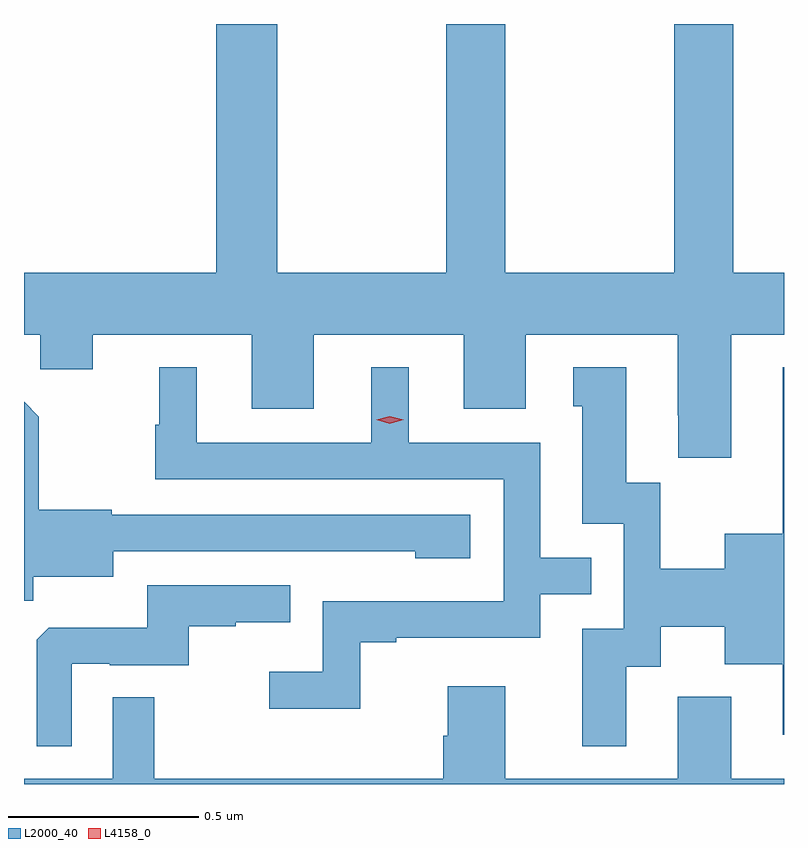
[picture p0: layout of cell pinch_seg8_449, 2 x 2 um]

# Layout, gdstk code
import gdstk
lib = gdstk.Library(unit=1e-6, precision=1e-09)
def P(c, l, *ps):  # polygons
    for p in ps: c.add(gdstk.Polygon(p, *l))
L2000_40 = (2000, 40)
L4158_0 = (4158, 0)

pinch_seg8_449 = lib.new_cell('pinch_seg8_449')
P(pinch_seg8_449, L2000_40, [(326.089,1140.476),(326.228,1140.476),(326.228,1140.64),(326.094,1140.64),(326.094,1141.294),(325.939,1141.294),(325.939,1140.64),(325.494,1140.64),(325.494,1141.294),(325.339,1141.294),(325.339,1140.64),(324.894,1140.64),(324.894,1141.294),(324.734,1141.294),(324.734,1140.64),(324.228,1140.64),(324.228,1140.476),(324.271,1140.476),(324.271,1140.386),(324.409,1140.386),(324.409,1140.476),(324.827,1140.476),(324.827,1140.282),(324.991,1140.282),(324.991,1140.476),(325.385,1140.476),(325.385,1140.282),(325.549,1140.282),(325.549,1140.476),(325.949,1140.476),(325.949,1140.265),(325.95,1140.265),(325.95,1140.153),(326.089,1140.153)],
  [(325.113,1139.667),(325.207,1139.667),(325.207,1139.679),(325.587,1139.679),(325.587,1139.793),(325.721,1139.793),(325.721,1139.889),(325.587,1139.889),(325.587,1140.192),(325.24,1140.192),(325.24,1140.391),(325.142,1140.391),(325.142,1140.192),(324.682,1140.192),(324.682,1140.391),(324.584,1140.391),(324.584,1140.24),(324.573,1140.24),(324.573,1140.096),(325.491,1140.096),(325.491,1139.775),(325.014,1139.775),(325.014,1139.59),(324.873,1139.59),(324.873,1139.492),(325.113,1139.492)],
  [(325.813,1139.602),(325.903,1139.602),(325.903,1139.708),(326.072,1139.708),(326.072,1139.609),(326.225,1139.609),(326.225,1139.424),(326.228,1139.424),(326.228,1140.391),(326.225,1140.391),(326.225,1139.953),(326.072,1139.953),(326.072,1139.86),(325.902,1139.86),(325.902,1140.087),(325.813,1140.087),(325.813,1140.391),(325.673,1140.391),(325.673,1140.288),(325.697,1140.288),(325.697,1139.979),(325.806,1139.979),(325.806,1139.703),(325.697,1139.703),(325.697,1139.394),(325.813,1139.394)],
  [(324.252,1139.84),(324.463,1139.84),(324.463,1139.907),(325.021,1139.907),(325.021,1139.906),(325.257,1139.906),(325.257,1139.888),(325.402,1139.888),(325.402,1140.003),(324.459,1140.003),(324.459,1140.016),(324.267,1140.016),(324.267,1140.261),(324.228,1140.3),(324.228,1139.776),(324.252,1139.776)],
  [(324.354,1139.61),(324.454,1139.61),(324.454,1139.607),(324.662,1139.607),(324.662,1139.709),(324.785,1139.709),(324.785,1139.72),(324.929,1139.72),(324.929,1139.817),(324.552,1139.817),(324.552,1139.705),(324.293,1139.705),(324.261,1139.673),(324.261,1139.393),(324.354,1139.393)],
  [(326.228,1139.308),(326.089,1139.308),(326.089,1139.524),(325.949,1139.524),(325.949,1139.308),(325.495,1139.308),(325.495,1139.551),(325.343,1139.551),(325.343,1139.421),(325.331,1139.421),(325.331,1139.308),(324.571,1139.308),(324.571,1139.522),(324.462,1139.522),(324.462,1139.308),(324.228,1139.308),(324.228,1139.294),(326.228,1139.294)])
P(pinch_seg8_449, L4158_0, [(325.191,1140.242),(325.155,1140.252),(325.155,1140.252),(325.155,1140.253),(325.191,1140.262),(325.227,1140.253),(325.227,1140.252),(325.227,1140.252)])

lib.write_gds('pinch_seg8_449.gds')
